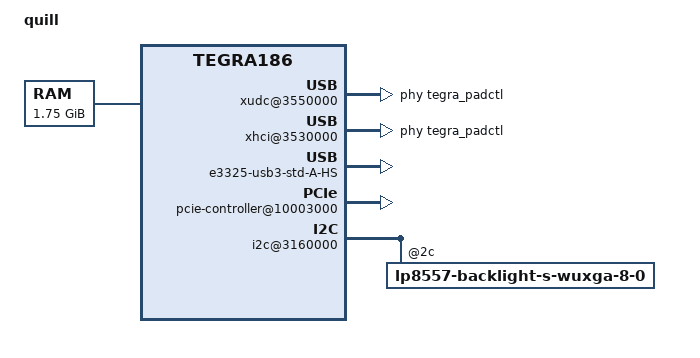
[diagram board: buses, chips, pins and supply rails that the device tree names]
/*

 * tegra186-quill-p3310-a00-00-base.dts Quill A00 Board
 *
 * Copyright (c) 2015-2016, NVIDIA CORPORATION.  All rights reserved.
 *
 * This program is free software; you can redistribute it and/or modify
 * it under the terms of the GNU General Public License as published by
 * the Free Software Foundation; version 2 of the License.
 *
 * This program is distributed in the hope that it will be useful, but WITHOUT
 * ANY WARRANTY; without even the implied warranty of MERCHANTABILITY or
 * FITNESS FOR A PARTICULAR PURPOSE.  See the GNU General Public License for
 * more details.
 */

#include "tegra186-platforms/tegra186-quill-common-p3310-1000-a00.dtsi"
#include "tegra186-platforms/tegra186-quill-power-tree-p3310-1000-a00-00.dtsi"
#include "tegra186-platforms/tegra186-quill-camera-e3323-a00.dtsi"
#include "tegra186-modules/tegra186-cvb-e3320-1000-a00.dtsi"

/* comms dtsi file should be included after gpio dtsi file */
#include "tegra186-platforms/tegra186-quill-comms.dtsi"
#include "tegra186-plugin-manager/tegra186-quill-p3310-1000-a00-plugin-manager.dtsi"
#include "tegra186-modules/tegra186-super-module-e2614-p2597-1000-a00.dtsi"
#include "tegra186-plugin-manager/tegra186-quill-display-plugin-manager.dtsi"
#include "tegra186-prod/tegra186-priv-quill-p3310-1000-a00-prod.dtsi"

/ {
	model = "quill";
	compatible = "nvidia,quill", "nvidia,tegra186";

	nvidia,dtsfilename = __FILE__;
	nvidia,boardids = "3310:0000:A0";
	nvidia,proc-boardid = "3310:0000:A0";

	chosen {
		board-has-eeprom;
		bootargs ="console=ttyS0,115200";
		stdout-path = &uarta;
	};

	firmware {
		android {
			compatible = "android,firmware";
			hardware = "quill";
		};
	};

	memory@80000000 {
		device_type = "memory";
		reg = <0x0 0x80000000 0x0 0x70000000>;
	};

	xudc@3550000 {
		status = "okay";
		phys = <&tegra_padctl TEGRA_PADCTL_PHY_UTMI_P(0)>;
		phy-names = "usb2";
	};

	xhci@3530000 {
		status = "okay";
		phys = <&tegra_padctl TEGRA_PADCTL_PHY_UTMI_P(0)>,
			<&tegra_padctl TEGRA_PADCTL_PHY_UTMI_P(1)>,
			<&tegra_padctl TEGRA_PADCTL_PHY_USB3_P(1)>,
			<&tegra_padctl TEGRA_PADCTL_PHY_UTMI_P(2)>;
		phy-names = "utmi-0", "utmi-1", "usb3-1", "utmi-2";
	};

	pinctrl@3520000 {
		status = "okay";
		pinctrl-0 = <&tegra_padctl_pinmux_default>;
		pinctrl-names = "default";
		tegra_padctl_pinmux_default: pinmux {
			/* Quill does not support usb3-micro AB */
			usb2-micro-AB {
				nvidia,lanes = "otg-0";
				nvidia,function = "xusb";
				nvidia,port-cap = <TEGRA_PADCTL_PORT_OTG_CAP>;
			};
			usb2-std-A-port2 {
				nvidia,lanes = "otg-1";
				nvidia,function = "xusb";
				nvidia,port-cap = <TEGRA_PADCTL_PORT_HOST_ONLY>;
			};
			usb3-std-A-port2 {
				nvidia,lanes = "usb3-1";
				nvidia,port-cap = <TEGRA_PADCTL_PORT_HOST_ONLY>;
			};

			e3325-usb3-std-A-HS {
				nvidia,lanes = "otg-2";
				nvidia,function = "xusb";
				nvidia,port-cap = <TEGRA_PADCTL_PORT_HOST_ONLY>;
				status = "okay";
			};

			e3325-usb3-std-A-SS {
				nvidia,lanes = "usb3-0";
				nvidia,port-cap = <TEGRA_PADCTL_PORT_HOST_ONLY>;
				status = "disabled";
			};
		};
	};
	pcie-controller@10003000 {
		nvidia,lane-map = <0x211>;
		status = "okay";
		pci@1,0 {
			status = "okay";
		};
		pci@2,0 {
			status = "disabled";
		};
		pci@3,0 {
			status = "okay";
		};
	};

	i2c@3160000 {
		lp8557-backlight-s-wuxga-8-0@2c {
			status = "okay";
		};
	};

	cpus {
		status = "disabled";
	};

	host1x {
		sor {
			status = "okay";
			hdmi-display {
				status = "disabled";
			};

			panel-s-edp-uhdtv-15-6 {
				smartdimmer {
					status = "disabled";
				};
			};
		};
	};

        mttcan@c310000 {
                status = "okay";
                gpio_can_stb = <&tegra_gpio TEGRA_GPIO(AA, 0) GPIO_ACTIVE_HIGH>;
                gpio_can_en = <&tegra_gpio TEGRA_GPIO(AA, 1) GPIO_ACTIVE_HIGH>;
                mram-params = <0 16 16 8 8 8 16 16 16>;
                tx-config = <8 8 0 64>;
                rx-config = <64 64 64>;
        };

        mttcan@c320000 {
                status = "okay";
                gpio_can_stb = <&tegra_gpio TEGRA_GPIO(AA, 6) GPIO_ACTIVE_HIGH>;
                gpio_can_en = <&tegra_gpio TEGRA_GPIO(AA, 7) GPIO_ACTIVE_HIGH>;
                mram-params = <0 16 16 8 8 8 16 16 16>;
                tx-config = <8 8 0 64>;
                rx-config = <64 64 64>;
        };

};
